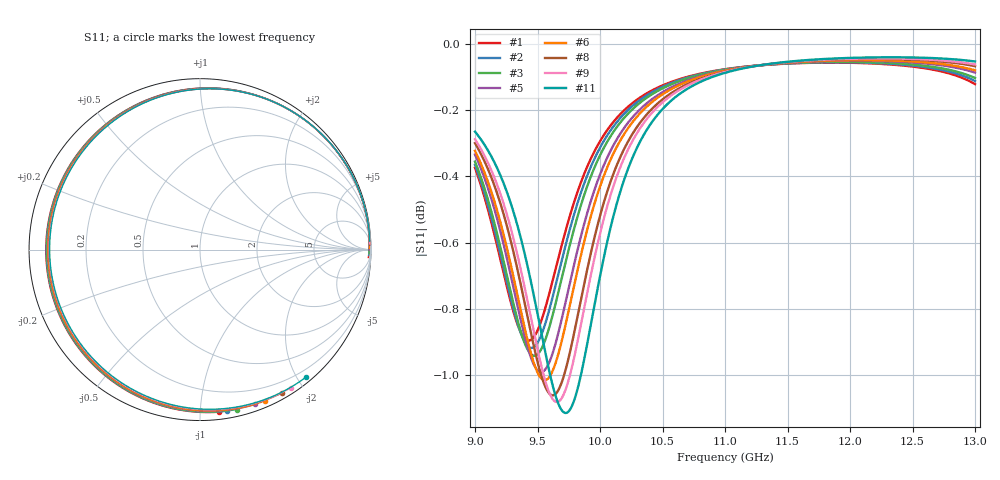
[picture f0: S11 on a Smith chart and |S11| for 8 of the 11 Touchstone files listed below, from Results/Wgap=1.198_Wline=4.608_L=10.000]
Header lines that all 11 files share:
! TOUCHSTONE file generated by CST DESIGN STUDIO
! Project name: C:\Work\MatlabApps\UnitCellOptimizationMatlab\CST\unitcell.cst
! Tree item: Tasks\Sweep1\SPara1\S-Parameters
! Header version: 2024
! Port assignment regex: !\s*Touchstone port\s*([0-9]+)\s*=\s*(CST MWS port|CST DES external port|CST DES block port)\s*(.+)\s* \(\"(.*)\"\)(\s*mode\s*([0-9]+))?.*
! Touchstone port assignment:
! Touchstone port 1 = CST DES external port 1 ("")
# GHz S MA R 50
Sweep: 9 GHz to 13 GHz
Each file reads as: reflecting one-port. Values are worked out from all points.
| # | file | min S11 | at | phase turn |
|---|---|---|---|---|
| 1 | DS_for_MWS-run-0001.s1p | -0.9 dB | 9.429 GHz | -279 deg |
| 2 | DS_for_MWS-run-0002.s1p | -0.9 dB | 9.451 GHz | -282 deg |
| 3 | DS_for_MWS-run-0003.s1p | -0.9 dB | 9.475 GHz | -284 deg |
| 4 | DS_for_MWS-run-0004.s1p | -1.0 dB | 9.5 GHz | -287 deg |
| 5 | DS_for_MWS-run-0005.s1p | -1.0 dB | 9.528 GHz | -290 deg |
| 6 | DS_for_MWS-run-0006.s1p | -1.0 dB | 9.558 GHz | -293 deg |
| 7 | DS_for_MWS-run-0007.s1p | -1.0 dB | 9.589 GHz | -296 deg |
| 8 | DS_for_MWS-run-0008.s1p | -1.1 dB | 9.621 GHz | -298 deg |
| 9 | DS_for_MWS-run-0009.s1p | -1.1 dB | 9.655 GHz | -301 deg |
| 10 | DS_for_MWS-run-0010.s1p | -1.1 dB | 9.69 GHz | -304 deg |
| 11 | DS_for_MWS-run-0011.s1p | -1.1 dB | 9.725 GHz | -307 deg |
